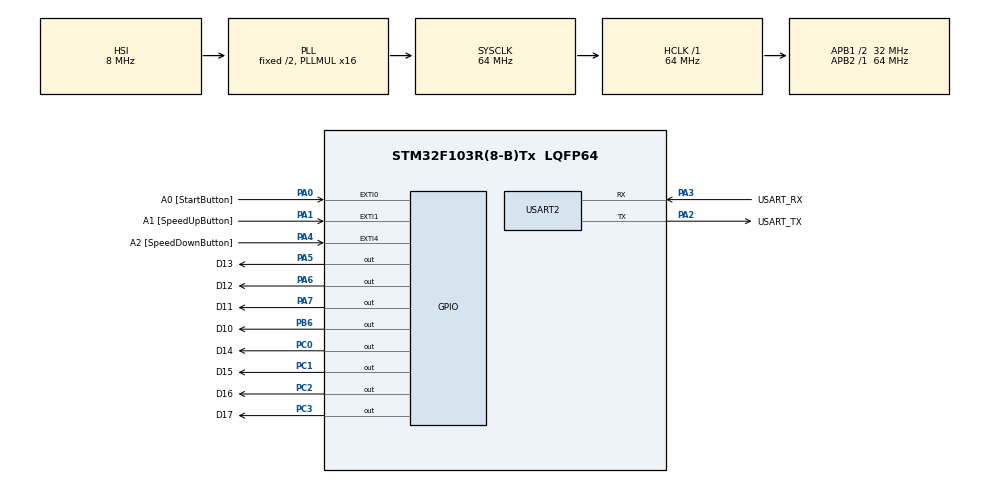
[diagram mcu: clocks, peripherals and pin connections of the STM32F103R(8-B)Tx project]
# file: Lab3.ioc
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Mcu.Family=STM32F1
Mcu.Name=STM32F103R(8-B)Tx
Mcu.Package=LQFP64
NVIC.EXTI0_IRQn=true\:0\:0\:true\:false\:true\:true\:true
NVIC.EXTI1_IRQn=true\:0\:0\:true\:false\:true\:true\:true
NVIC.EXTI4_IRQn=true\:0\:0\:true\:false\:true\:true\:true
NVIC.PriorityGroup=NVIC_PRIORITYGROUP_4
PA0-WKUP.GPIO_Label=A0 [StartButton]
PA0-WKUP.GPIO_ModeDefaultEXTI=GPIO_MODE_IT_RISING
PA0-WKUP.GPIO_PuPd=GPIO_NOPULL
PA0-WKUP.Signal=GPXTI0
PA1.GPIO_Label=A1 [SpeedUpButton]
PA1.GPIO_ModeDefaultEXTI=GPIO_MODE_IT_RISING
PA1.GPIO_PuPd=GPIO_NOPULL
PA1.Signal=GPXTI1
PA13.GPIO_Label=TMS
PA13.Mode=Serial_Wire
PA13.Signal=SYS_JTMS-SWDIO
PA14.GPIO_Label=TCK
PA14.Mode=Serial_Wire
PA14.Signal=SYS_JTCK-SWCLK
PA2.GPIO_Label=USART_TX
PA2.GPIO_Mode=GPIO_MODE_AF_PP
PA2.GPIO_PuPd=GPIO_NOPULL
PA2.GPIO_Speed=GPIO_SPEED_FREQ_LOW
PA2.Mode=Asynchronous
PA2.Signal=USART2_TX
PA3.GPIO_Label=USART_RX
PA3.GPIO_Mode=GPIO_MODE_AF_PP
PA3.GPIO_PuPd=GPIO_NOPULL
PA3.GPIO_Speed=GPIO_SPEED_FREQ_LOW
PA3.Mode=Asynchronous
PA3.Signal=USART2_RX
PA4.GPIO_Label=A2 [SpeedDownButton]
PA4.GPIO_ModeDefaultEXTI=GPIO_MODE_IT_RISING
PA4.GPIO_PuPd=GPIO_NOPULL
PA4.Signal=GPXTI4
PA5.GPIO_Label=D13
PA5.Signal=GPIO_Output
PA6.GPIO_Label=D12
PA6.Signal=GPIO_Output
PA7.GPIO_Label=D11
PA7.Signal=GPIO_Output
PB3.GPIO_Label=SWO
PB3.Signal=SYS_JTDO-TRACESWO
PB6.GPIO_Label=D10
PB6.Signal=GPIO_Output
PC0.GPIO_Label=D14
PC0.Signal=GPIO_Output
PC1.GPIO_Label=D15
PC1.Signal=GPIO_Output
PC14-OSC32_IN.Mode=LSE-External-Oscillator
PC14-OSC32_IN.Signal=RCC_OSC32_IN
PC15-OSC32_OUT.Mode=LSE-External-Oscillator
PC15-OSC32_OUT.Signal=RCC_OSC32_OUT
PC2.GPIO_Label=D16
PC2.Signal=GPIO_Output
PC3.GPIO_Label=D17
PC3.Signal=GPIO_Output
PD0-OSC_IN.Mode=HSE-External-Clock-Source
PD0-OSC_IN.Signal=RCC_OSC_IN
PD1-OSC_OUT.Mode=HSE-External-Clock-Source
PD1-OSC_OUT.Signal=RCC_OSC_OUT
ProjectManager.HeapSize=0x200
ProjectManager.StackSize=0x400
ProjectManager.TargetToolchain=MDK-ARM V5.32
RCC.AHBFreq_Value=64000000
RCC.APB1CLKDivider=RCC_HCLK_DIV2
RCC.APB1Freq_Value=32000000
RCC.APB1TimFreq_Value=64000000
RCC.APB2Freq_Value=64000000
RCC.APB2TimFreq_Value=64000000
RCC.HCLKFreq_Value=64000000
RCC.PLLMUL=RCC_PLL_MUL16
RCC.RTCClockSelection=RCC_RTCCLKSOURCE_LSE
RCC.SYSCLKFreq_VALUE=64000000
RCC.SYSCLKSource=RCC_SYSCLKSOURCE_PLLCLK
RCC.USBFreq_Value=64000000
USART2.VirtualMode=VM_ASYNC
board=NUCLEO-F103RB

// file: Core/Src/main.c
/* USER CODE BEGIN Header */
/**
  ******************************************************************************
  * @file           : main.c
  * @brief          : Main program body
  ******************************************************************************
  * @attention
  *
  * <h2><center>&copy; Copyright (c) 2021 STMicroelectronics.
  * All rights reserved.</center></h2>
  *
  * This software component is licensed by ST under BSD 3-Clause license,
  * the "License"; You may not use this file except in compliance with the
  * License. You may obtain a copy of the License at:
  *                        opensource.org/licenses/BSD-3-Clause
  *
  ******************************************************************************
  */
/* USER CODE END Header */
#include "main.h"
#include "usart.h"
#include "gpio.h"

/* USER CODE BEGIN PV */
uint8_t pin1_is_enabled = 0;
uint8_t pin2_is_enabled = 0;
uint8_t pin4_is_enabled = 0;
/* USER CODE END PV */

void SystemClock_Config(void);

int main(void)
{

  /* MCU Configuration--------------------------------------------------------*/

  /* Reset of all peripherals, Initializes the Flash interface and the Systick. */
  HAL_Init();

  /* Configure the system clock */
  SystemClock_Config();

  /* Initialize all configured peripherals */
  MX_GPIO_Init();
  MX_USART2_UART_Init();

  /* Infinite loop */
  /* USER CODE BEGIN WHILE */
	uint32_t hal_tick = 50;
	uint8_t is_lit = 1;
	uint32_t tapTime = 0;

	uint32_t nextMoveTick = 0;
	uint8_t state = 0;

	uint32_t tapDelay = 50;

  while (1)
  {
    /* USER CODE END WHILE */

    /* USER CODE BEGIN 3 */
		if (pin1_is_enabled == 1)
		{
			is_lit = !is_lit;
			pin1_is_enabled = 2;
			tapTime = HAL_GetTick();
		}
		if (pin1_is_enabled == 2)
		{
			if (HAL_GetTick() > tapTime + tapDelay)
			{
				pin1_is_enabled = 0;
			}
		}

		if (pin2_is_enabled == 1)
		{
			if (hal_tick > 25) {
				hal_tick -= 25;
			}

			pin2_is_enabled = 2;
			tapTime = HAL_GetTick();
		}
		if (pin2_is_enabled == 2)
		{
			if (HAL_GetTick() > tapTime + tapDelay)
			{
				pin2_is_enabled = 0;
			}
		}

		if (pin4_is_enabled == 1)
		{
			if (hal_tick < 100) {
				hal_tick += 25;
			}

			pin4_is_enabled = 2;
			tapTime = HAL_GetTick();
		}
		if (pin4_is_enabled == 2)
		{
			if (HAL_GetTick() > tapTime + tapDelay)
			{
				pin4_is_enabled = 0;
			}
		}

		if (is_lit && HAL_GetTick() > nextMoveTick)
		{
			nextMoveTick = HAL_GetTick() + hal_tick;

			HAL_GPIO_WritePin(GPIOC, D14_Pin|D15_Pin|D16_Pin|D17_Pin, GPIO_PIN_RESET);
			HAL_GPIO_WritePin(GPIOA, D13_Pin|D12_Pin|D11_Pin, GPIO_PIN_RESET);
			HAL_GPIO_WritePin(D10_GPIO_Port, D10_Pin, GPIO_PIN_RESET);

			switch (state) {
				case 0:
					HAL_GPIO_WritePin(D10_GPIO_Port, D10_Pin, GPIO_PIN_SET);
					HAL_GPIO_WritePin(GPIOA, D11_Pin, GPIO_PIN_SET);
					break;
				case 1:
					HAL_GPIO_WritePin(GPIOA, D11_Pin, GPIO_PIN_SET);
					HAL_GPIO_WritePin(GPIOA, D12_Pin, GPIO_PIN_SET);
					break;
				case 2:
					HAL_GPIO_WritePin(GPIOA, D12_Pin, GPIO_PIN_SET);
					HAL_GPIO_WritePin(GPIOA, D13_Pin, GPIO_PIN_SET);
					break;
				case 3:
					HAL_GPIO_WritePin(GPIOA, D13_Pin, GPIO_PIN_SET);
					HAL_GPIO_WritePin(GPIOC, D14_Pin, GPIO_PIN_SET);
					break;
				case 4:
					HAL_GPIO_WritePin(GPIOC, D14_Pin, GPIO_PIN_SET);
					HAL_GPIO_WritePin(GPIOC, D15_Pin, GPIO_PIN_SET);
					break;
				case 5:
					HAL_GPIO_WritePin(GPIOC, D15_Pin, GPIO_PIN_SET);
					HAL_GPIO_WritePin(GPIOC, D16_Pin, GPIO_PIN_SET);
					break;
				case 6:
					HAL_GPIO_WritePin(GPIOC, D16_Pin, GPIO_PIN_SET);
					HAL_GPIO_WritePin(GPIOC, D17_Pin, GPIO_PIN_SET);
					break;
				case 7:
					HAL_GPIO_WritePin(GPIOC, D17_Pin, GPIO_PIN_SET);
					HAL_GPIO_WritePin(D10_GPIO_Port, D10_Pin, GPIO_PIN_SET);
					break;
			}

			state = (state + 1) % 8;
		}
		else if (!is_lit)
		{
			HAL_GPIO_WritePin(GPIOC, D14_Pin|D15_Pin|D16_Pin|D17_Pin, GPIO_PIN_RESET);
			HAL_GPIO_WritePin(GPIOA, D13_Pin|D12_Pin|D11_Pin, GPIO_PIN_RESET);
			HAL_GPIO_WritePin(D10_GPIO_Port, D10_Pin, GPIO_PIN_RESET);
		}
  }
  /* USER CODE END 3 */
}

void SystemClock_Config(void)
{
  RCC_OscInitTypeDef RCC_OscInitStruct = {0};
  RCC_ClkInitTypeDef RCC_ClkInitStruct = {0};

  /** Initializes the RCC Oscillators according to the specified parameters
  * in the RCC_OscInitTypeDef structure.
  */
  RCC_OscInitStruct.OscillatorType = RCC_OSCILLATORTYPE_HSI;
  RCC_OscInitStruct.HSIState = RCC_HSI_ON;
  RCC_OscInitStruct.HSICalibrationValue = RCC_HSICALIBRATION_DEFAULT;
  RCC_OscInitStruct.PLL.PLLState = RCC_PLL_ON;
  RCC_OscInitStruct.PLL.PLLSource = RCC_PLLSOURCE_HSI_DIV2;
  RCC_OscInitStruct.PLL.PLLMUL = RCC_PLL_MUL16;
  if (HAL_RCC_OscConfig(&RCC_OscInitStruct) != HAL_OK)
  {
    Error_Handler();
  }
  /** Initializes the CPU, AHB and APB buses clocks
  */
  RCC_ClkInitStruct.ClockType = RCC_CLOCKTYPE_HCLK|RCC_CLOCKTYPE_SYSCLK
                              |RCC_CLOCKTYPE_PCLK1|RCC_CLOCKTYPE_PCLK2;
  RCC_ClkInitStruct.SYSCLKSource = RCC_SYSCLKSOURCE_PLLCLK;
  RCC_ClkInitStruct.AHBCLKDivider = RCC_SYSCLK_DIV1;
  RCC_ClkInitStruct.APB1CLKDivider = RCC_HCLK_DIV2;
  RCC_ClkInitStruct.APB2CLKDivider = RCC_HCLK_DIV1;

  if (HAL_RCC_ClockConfig(&RCC_ClkInitStruct, FLASH_LATENCY_2) != HAL_OK)
  {
    Error_Handler();
  }
}

void Error_Handler(void)
{
  __disable_irq();
  while (1)
  {
  }
}
